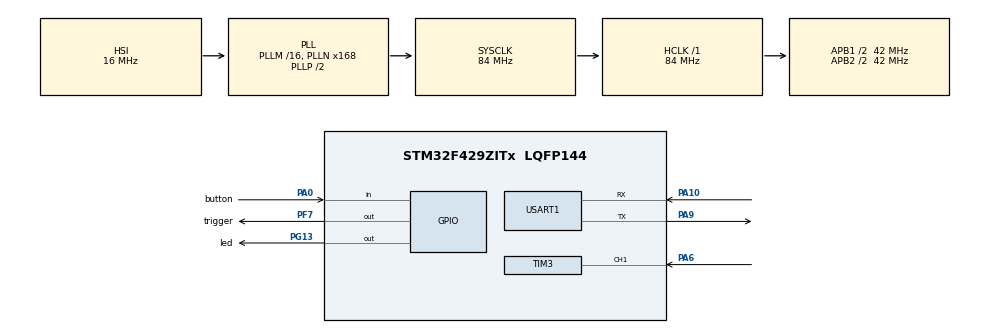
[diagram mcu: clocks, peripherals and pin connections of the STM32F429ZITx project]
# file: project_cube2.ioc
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Mcu.Family=STM32F4
Mcu.Name=STM32F429ZITx
Mcu.Package=LQFP144
NVIC.PriorityGroup=NVIC_PRIORITYGROUP_4
NVIC.TIM3_IRQn=true\:0\:0\:false\:false\:true\:true\:true
PA0/WKUP.GPIO_Label=button
PA0/WKUP.Signal=GPIO_Input
PA10.Mode=Asynchronous
PA10.Signal=USART1_RX
PA6.Signal=S_TIM3_CH1
PA9.Mode=Asynchronous
PA9.Signal=USART1_TX
PF7.GPIO_Label=trigger
PF7.Signal=GPIO_Output
PG13.GPIO_Label=led
PG13.Signal=GPIO_Output
ProjectManager.HeapSize=0x200
ProjectManager.StackSize=0x400
ProjectManager.TargetToolchain=MDK-ARM V5
RCC.48MHZClocksFreq_Value=42000000
RCC.AHBFreq_Value=84000000
RCC.APB1CLKDivider=RCC_HCLK_DIV2
RCC.APB1Freq_Value=42000000
RCC.APB1TimFreq_Value=84000000
RCC.APB2CLKDivider=RCC_HCLK_DIV2
RCC.APB2Freq_Value=42000000
RCC.APB2TimFreq_Value=84000000
RCC.CortexFreq_Value=84000000
RCC.HCLKFreq_Value=84000000
RCC.HSE_VALUE=25000000
RCC.HSI_VALUE=16000000
RCC.LSE_VALUE=32768
RCC.PLLN=168
RCC.SYSCLKFreq_VALUE=84000000
RCC.SYSCLKSource=RCC_SYSCLKSOURCE_PLLCLK
RCC.VCOOutputFreq_Value=168000000
SH.S_TIM3_CH1.0=TIM3_CH1,Input_Capture1_from_TI1
TIM3.Channel-Input_Capture1_from_TI1=TIM_CHANNEL_1
TIM3.ICFilter_CH1=4
TIM3.ICPolarity_CH1=TIM_INPUTCHANNELPOLARITY_BOTHEDGE
TIM3.Period=65535
TIM3.Prescaler=83
TIM4.Prescaler=83
USART1.VirtualMode=VM_ASYNC
VP_TIM3_VS_ClockSourceINT.Mode=Internal
VP_TIM4_VS_ClockSourceINT.Mode=Internal
board=custom

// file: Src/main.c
/* USER CODE BEGIN Header */
/**
  ******************************************************************************
  * @file           : main.c
  * @brief          : Main program body
  ******************************************************************************
  * @attention
  *
  * <h2><center>&copy; Copyright (c) 2020 STMicroelectronics.
  * All rights reserved.</center></h2>
  *
  * This software component is licensed by ST under BSD 3-Clause license,
  * the "License"; You may not use this file except in compliance with the
  * License. You may obtain a copy of the License at:
  *                        opensource.org/licenses/BSD-3-Clause
  *
  ******************************************************************************
  */
/* USER CODE END Header */

#include "main.h"

/* USER CODE BEGIN Includes */
#include <string.h>
#include <stdio.h>
/* USER CODE END Includes */

/* USER CODE BEGIN PTD */
#define usTIM TIM4
/* USER CODE END PTD */

TIM_HandleTypeDef htim3;
TIM_HandleTypeDef htim4;

UART_HandleTypeDef huart1;

void SystemClock_Config(void);
static void MX_GPIO_Init(void);
static void MX_TIM4_Init(void);
static void MX_USART1_UART_Init(void);
static void MX_TIM3_Init(void);
/* USER CODE BEGIN PFP */
void usDelay(uint32_t uSec);
/* USER CODE END PFP */

/* USER CODE BEGIN 0 */
uint8_t icFlag = 0;
uint8_t captureIdx=0;
uint32_t edge1Time=0, edge2Time=0;

const float speedOfSound = 0.0343/2;
float distance;

char uartBuf[100];
/* USER CODE END 0 */

int main(void)
{

  /* MCU Configuration--------------------------------------------------------*/

  /* Reset of all peripherals, Initializes the Flash interface and the Systick. */
  HAL_Init();

  /* Configure the system clock */
  SystemClock_Config();

  /* Initialize all configured peripherals */
  MX_GPIO_Init();
  MX_TIM4_Init();
  MX_USART1_UART_Init();
  MX_TIM3_Init();

  /* Infinite loop */
  while (1)
  {

    /* USER CODE BEGIN 3 */

		HAL_GPIO_WritePin(trigger_GPIO_Port, trigger_Pin, GPIO_PIN_RESET);
		usDelay(3);

		HAL_GPIO_WritePin(trigger_GPIO_Port, trigger_Pin, GPIO_PIN_SET);
		usDelay(10);
		HAL_GPIO_WritePin(trigger_GPIO_Port, trigger_Pin, GPIO_PIN_RESET);

		HAL_TIM_IC_Start_IT(&htim3, TIM_CHANNEL_1);

		uint32_t startTick = HAL_GetTick();
		do
		{
			if(icFlag) break;
		}while((HAL_GetTick() - startTick) < 500);  //500ms
		icFlag = 0;
		HAL_TIM_IC_Stop_IT(&htim3, TIM_CHANNEL_1);

		if(edge2Time > edge1Time)
		{
			distance = ((edge2Time - edge1Time) + 0.0f)*speedOfSound;
		}
		else
		{
			distance = 0.0f;
		}

		sprintf(uartBuf, "Distance (cm)  = %.1f\r\n", distance);
		HAL_UART_Transmit(&huart1, (uint8_t *)uartBuf, strlen(uartBuf), 100);

		HAL_Delay(1000);
  }
  /* USER CODE END 3 */
}

void SystemClock_Config(void)
{
  RCC_OscInitTypeDef RCC_OscInitStruct = {0};
  RCC_ClkInitTypeDef RCC_ClkInitStruct = {0};

  /** Configure the main internal regulator output voltage
  */
  __HAL_RCC_PWR_CLK_ENABLE();
  __HAL_PWR_VOLTAGESCALING_CONFIG(PWR_REGULATOR_VOLTAGE_SCALE3);
  /** Initializes the CPU, AHB and APB busses clocks
  */
  RCC_OscInitStruct.OscillatorType = RCC_OSCILLATORTYPE_HSI;
  RCC_OscInitStruct.HSIState = RCC_HSI_ON;
  RCC_OscInitStruct.HSICalibrationValue = RCC_HSICALIBRATION_DEFAULT;
  RCC_OscInitStruct.PLL.PLLState = RCC_PLL_ON;
  RCC_OscInitStruct.PLL.PLLSource = RCC_PLLSOURCE_HSI;
  RCC_OscInitStruct.PLL.PLLM = 16;
  RCC_OscInitStruct.PLL.PLLN = 168;
  RCC_OscInitStruct.PLL.PLLP = RCC_PLLP_DIV2;
  RCC_OscInitStruct.PLL.PLLQ = 4;
  if (HAL_RCC_OscConfig(&RCC_OscInitStruct) != HAL_OK)
  {
    Error_Handler();
  }
  /** Initializes the CPU, AHB and APB busses clocks
  */
  RCC_ClkInitStruct.ClockType = RCC_CLOCKTYPE_HCLK|RCC_CLOCKTYPE_SYSCLK
                              |RCC_CLOCKTYPE_PCLK1|RCC_CLOCKTYPE_PCLK2;
  RCC_ClkInitStruct.SYSCLKSource = RCC_SYSCLKSOURCE_PLLCLK;
  RCC_ClkInitStruct.AHBCLKDivider = RCC_SYSCLK_DIV1;
  RCC_ClkInitStruct.APB1CLKDivider = RCC_HCLK_DIV2;
  RCC_ClkInitStruct.APB2CLKDivider = RCC_HCLK_DIV2;

  if (HAL_RCC_ClockConfig(&RCC_ClkInitStruct, FLASH_LATENCY_2) != HAL_OK)
  {
    Error_Handler();
  }
}

static void MX_TIM3_Init(void)
{

  TIM_ClockConfigTypeDef sClockSourceConfig = {0};
  TIM_MasterConfigTypeDef sMasterConfig = {0};
  TIM_IC_InitTypeDef sConfigIC = {0};

  htim3.Instance = TIM3;
  htim3.Init.Prescaler = 83;
  htim3.Init.CounterMode = TIM_COUNTERMODE_UP;
  htim3.Init.Period = 65535;
  htim3.Init.ClockDivision = TIM_CLOCKDIVISION_DIV1;
  htim3.Init.AutoReloadPreload = TIM_AUTORELOAD_PRELOAD_DISABLE;
  if (HAL_TIM_Base_Init(&htim3) != HAL_OK)
  {
    Error_Handler();
  }
  sClockSourceConfig.ClockSource = TIM_CLOCKSOURCE_INTERNAL;
  if (HAL_TIM_ConfigClockSource(&htim3, &sClockSourceConfig) != HAL_OK)
  {
    Error_Handler();
  }
  if (HAL_TIM_IC_Init(&htim3) != HAL_OK)
  {
    Error_Handler();
  }
  sMasterConfig.MasterOutputTrigger = TIM_TRGO_RESET;
  sMasterConfig.MasterSlaveMode = TIM_MASTERSLAVEMODE_DISABLE;
  if (HAL_TIMEx_MasterConfigSynchronization(&htim3, &sMasterConfig) != HAL_OK)
  {
    Error_Handler();
  }
  sConfigIC.ICPolarity = TIM_INPUTCHANNELPOLARITY_BOTHEDGE;
  sConfigIC.ICSelection = TIM_ICSELECTION_DIRECTTI;
  sConfigIC.ICPrescaler = TIM_ICPSC_DIV1;
  sConfigIC.ICFilter = 4;
  if (HAL_TIM_IC_ConfigChannel(&htim3, &sConfigIC, TIM_CHANNEL_1) != HAL_OK)
  {
    Error_Handler();
  }

}

static void MX_TIM4_Init(void)
{

  TIM_ClockConfigTypeDef sClockSourceConfig = {0};
  TIM_MasterConfigTypeDef sMasterConfig = {0};

  htim4.Instance = TIM4;
  htim4.Init.Prescaler = 83;
  htim4.Init.CounterMode = TIM_COUNTERMODE_UP;
  htim4.Init.Period = 0;
  htim4.Init.ClockDivision = TIM_CLOCKDIVISION_DIV1;
  htim4.Init.AutoReloadPreload = TIM_AUTORELOAD_PRELOAD_DISABLE;
  if (HAL_TIM_Base_Init(&htim4) != HAL_OK)
  {
    Error_Handler();
  }
  sClockSourceConfig.ClockSource = TIM_CLOCKSOURCE_INTERNAL;
  if (HAL_TIM_ConfigClockSource(&htim4, &sClockSourceConfig) != HAL_OK)
  {
    Error_Handler();
  }
  sMasterConfig.MasterOutputTrigger = TIM_TRGO_RESET;
  sMasterConfig.MasterSlaveMode = TIM_MASTERSLAVEMODE_DISABLE;
  if (HAL_TIMEx_MasterConfigSynchronization(&htim4, &sMasterConfig) != HAL_OK)
  {
    Error_Handler();
  }

}

static void MX_USART1_UART_Init(void)
{

  huart1.Instance = USART1;
  huart1.Init.BaudRate = 115200;
  huart1.Init.WordLength = UART_WORDLENGTH_8B;
  huart1.Init.StopBits = UART_STOPBITS_1;
  huart1.Init.Parity = UART_PARITY_NONE;
  huart1.Init.Mode = UART_MODE_TX_RX;
  huart1.Init.HwFlowCtl = UART_HWCONTROL_NONE;
  huart1.Init.OverSampling = UART_OVERSAMPLING_16;
  if (HAL_UART_Init(&huart1) != HAL_OK)
  {
    Error_Handler();
  }

}

static void MX_GPIO_Init(void)
{
  GPIO_InitTypeDef GPIO_InitStruct = {0};

  /* GPIO Ports Clock Enable */
  __HAL_RCC_GPIOF_CLK_ENABLE();
  __HAL_RCC_GPIOA_CLK_ENABLE();
  __HAL_RCC_GPIOG_CLK_ENABLE();

  /*Configure GPIO pin Output Level */
  HAL_GPIO_WritePin(trigger_GPIO_Port, trigger_Pin, GPIO_PIN_RESET);

  /*Configure GPIO pin Output Level */
  HAL_GPIO_WritePin(led_GPIO_Port, led_Pin, GPIO_PIN_RESET);

  /*Configure GPIO pin : trigger_Pin */
  GPIO_InitStruct.Pin = trigger_Pin;
  GPIO_InitStruct.Mode = GPIO_MODE_OUTPUT_PP;
  GPIO_InitStruct.Pull = GPIO_NOPULL;
  GPIO_InitStruct.Speed = GPIO_SPEED_FREQ_LOW;
  HAL_GPIO_Init(trigger_GPIO_Port, &GPIO_InitStruct);

  /*Configure GPIO pin : button_Pin */
  GPIO_InitStruct.Pin = button_Pin;
  GPIO_InitStruct.Mode = GPIO_MODE_INPUT;
  GPIO_InitStruct.Pull = GPIO_NOPULL;
  HAL_GPIO_Init(button_GPIO_Port, &GPIO_InitStruct);

  /*Configure GPIO pin : led_Pin */
  GPIO_InitStruct.Pin = led_Pin;
  GPIO_InitStruct.Mode = GPIO_MODE_OUTPUT_PP;
  GPIO_InitStruct.Pull = GPIO_NOPULL;
  GPIO_InitStruct.Speed = GPIO_SPEED_FREQ_LOW;
  HAL_GPIO_Init(led_GPIO_Port, &GPIO_InitStruct);

}

/* USER CODE BEGIN 4 */
void usDelay(uint32_t uSec)
{
	if(uSec < 2) uSec = 2;
	usTIM->ARR = uSec - 1; 	/*sets the value in the auto-reload register*/
	usTIM->EGR = 1; 			/*Re-initialises the timer*/
	usTIM->SR &= ~1; 		//Resets the flag
	usTIM->CR1 |= 1; 		//Enables the counter
	while((usTIM->SR&0x0001) != 1);
	usTIM->SR &= ~(0x0001);
}

void HAL_TIM_IC_CaptureCallback(TIM_HandleTypeDef *htim)
{

	HAL_GPIO_TogglePin(led_GPIO_Port, led_Pin);

		if(captureIdx == 0)
		{
			edge1Time = HAL_TIM_ReadCapturedValue(htim, TIM_CHANNEL_1);

			captureIdx = 1;
		}
		else if(captureIdx == 1)
		{
			edge2Time = HAL_TIM_ReadCapturedValue(htim, TIM_CHANNEL_1);
			captureIdx = 0;
			icFlag = 1;
		}
}
/* USER CODE END 4 */

void Error_Handler(void)
{
}

/************************ (C) COPYRIGHT STMicroelectronics *****END OF FILE****/
